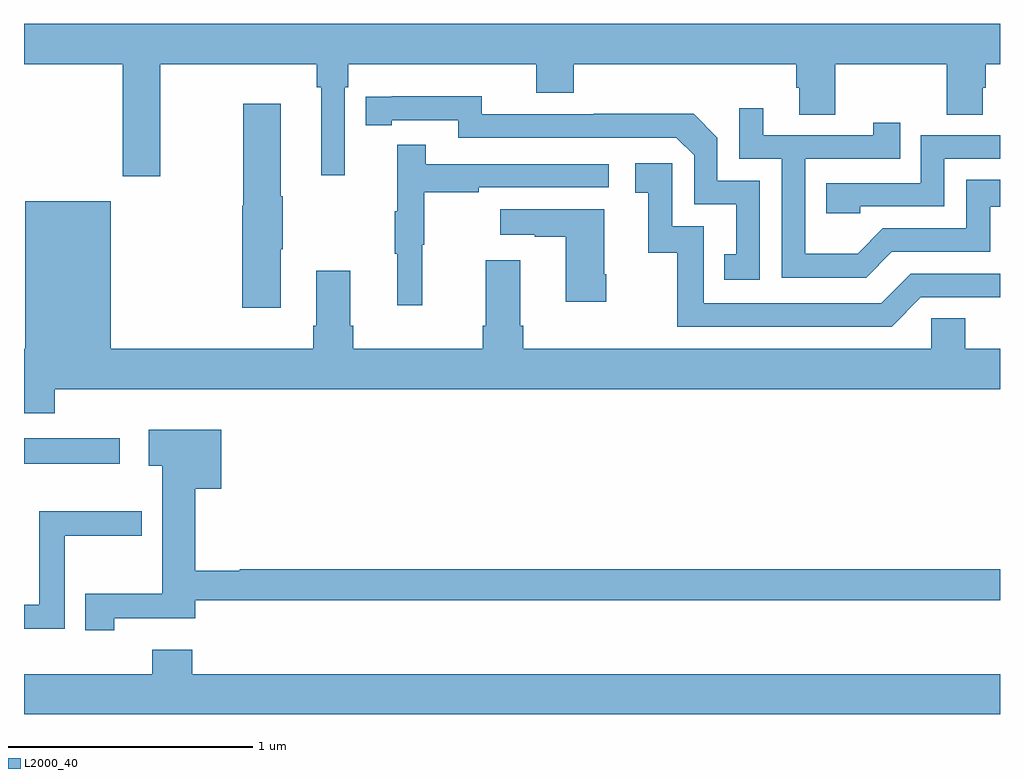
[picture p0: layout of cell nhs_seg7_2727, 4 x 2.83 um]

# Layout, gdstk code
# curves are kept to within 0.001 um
import gdstk
lib = gdstk.Library(unit=1e-6, precision=1e-09)
def R(c, l, rs):  # rectangles x0, y0, x1, y1
    for r in rs: c.add(gdstk.rectangle(r[:2], r[2:], *l))
def P(c, l, *ps):  # polygons
    for p in ps: c.add(gdstk.Polygon(p, *l))
L2000_40 = (2000, 40)

nhs_seg7_2727 = lib.new_cell('nhs_seg7_2727')
R(nhs_seg7_2727, L2000_40, [(287,1037.606,287.392,1037.71)])
P(nhs_seg7_2727, L2000_40, [(287.559,1039.244),(288.199,1039.244),(288.199,1039.148),(288.218,1039.148),(288.218,1038.789),(288.315,1038.789),(288.315,1039.148),(288.329,1039.148),(288.329,1039.244),(289.1,1039.244),(289.1,1039.127),(289.253,1039.127),(289.253,1039.244),(290.165,1039.244),(290.165,1039.146),(290.177,1039.146),(290.177,1039.036),(290.325,1039.036),(290.325,1039.244),(290.782,1039.244),(290.782,1039.036),(290.929,1039.036),(290.929,1039.146),(290.942,1039.146),(290.942,1039.244),(291,1039.244),(291,1039.408),(287,1039.408),(287,1039.244),(287.404,1039.244),(287.404,1038.783),(287.559,1038.783)],
  [(290.016,1038.765),(289.842,1038.765),(289.842,1038.942),(289.744,1039.04),(289.336,1039.04),(289.336,1039.038),(288.876,1039.038),(288.876,1039.111),(288.4,1039.11),(288.4,1038.994),(288.508,1038.994),(288.508,1039.014),(288.78,1039.014),(288.78,1038.942),(289.674,1038.942),(289.746,1038.87),(289.746,1038.669),(289.919,1038.669),(289.919,1038.465),(289.87,1038.465),(289.87,1038.36),(290.016,1038.36)],
  [(288.052,1038.484),(288.06,1038.484),(288.06,1038.701),(288.052,1038.701),(288.052,1039.081),(287.899,1039.081),(287.899,1038.663),(287.894,1038.663),(287.894,1038.246),(288.052,1038.246)],
  [(290.557,1038.474),(290.961,1038.474),(290.961,1038.659),(291,1038.659),(291,1038.769),(290.862,1038.769),(290.862,1038.57),(290.52,1038.57),(290.416,1038.466),(290.202,1038.466),(290.202,1038.855),(290.591,1038.855),(290.591,1039.003),(290.48,1039.003),(290.48,1038.951),(290.029,1038.951),(290.029,1039.063),(289.932,1039.063),(289.932,1038.855),(290.106,1038.855),(290.106,1038.369),(290.452,1038.369)],
  [(290.427,1038.66),(290.772,1038.66),(290.772,1038.855),(291,1038.855),(291,1038.951),(290.676,1038.951),(290.676,1038.756),(290.287,1038.756),(290.287,1038.633),(290.427,1038.633)],
  [(288.632,1038.504),(288.64,1038.504),(288.64,1038.718),(288.863,1038.718),(288.863,1038.738),(289.396,1038.738),(289.396,1038.834),(288.647,1038.834),(288.647,1038.913),(288.53,1038.913),(288.53,1038.641),(288.519,1038.641),(288.519,1038.467),(288.53,1038.467),(288.53,1038.255),(288.632,1038.255)],
  [(290.676,1038.288),(291,1038.288),(291,1038.384),(290.634,1038.384),(290.514,1038.264),(289.785,1038.264),(289.785,1038.579),(289.656,1038.579),(289.656,1038.838),(289.506,1038.838),(289.506,1038.717),(289.559,1038.717),(289.559,1038.471),(289.677,1038.471),(289.677,1038.168),(290.556,1038.168)],
  [(289.386,1038.382),(289.378,1038.382),(289.378,1038.649),(288.951,1038.649),(288.951,1038.545),(289.094,1038.545),(289.094,1038.535),(289.22,1038.535),(289.22,1038.27),(289.386,1038.27)],
  [(288.197,1038.397),(288.197,1038.172),(288.185,1038.172),(288.185,1038.076),(287.356,1038.076),(287.356,1038.682),(287.006,1038.682),(287.006,1038.076),(287,1038.076),(287,1037.813),(287.126,1037.813),(287.126,1037.912),(291,1037.912),(291,1038.076),(290.857,1038.076),(290.857,1038.203),(290.718,1038.203),(290.718,1038.076),(289.046,1038.076),(289.046,1038.172),(289.033,1038.172),(289.033,1038.439),(288.893,1038.439),(288.893,1038.172),(288.881,1038.172),(288.881,1038.076),(288.35,1038.076),(288.35,1038.172),(288.337,1038.172),(288.337,1038.397)],
  [(287.37,1036.973),(287.702,1036.973),(287.702,1037.046),(291,1037.046),(291,1037.174),(287.885,1037.174),(287.885,1037.167),(287.702,1037.167),(287.702,1037.504),(287.809,1037.504),(287.809,1037.746),(287.511,1037.746),(287.511,1037.597),(287.567,1037.597),(287.567,1037.073),(287.252,1037.073),(287.252,1036.923),(287.37,1036.923)],
  [(287.167,1037.311),(287.482,1037.311),(287.482,1037.411),(287.063,1037.411),(287.063,1037.028),(287,1037.028),(287,1036.93),(287.167,1036.93)],
  [(291,1036.744),(287.69,1036.744),(287.69,1036.843),(287.525,1036.843),(287.525,1036.744),(287,1036.744),(287,1036.58),(291,1036.58)])

lib.write_gds('nhs_seg7_2727.gds')
